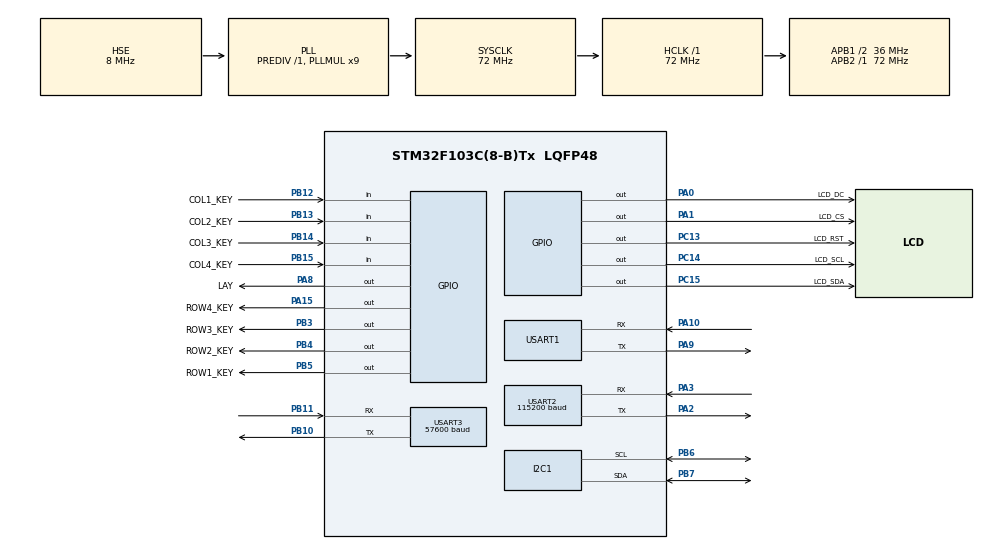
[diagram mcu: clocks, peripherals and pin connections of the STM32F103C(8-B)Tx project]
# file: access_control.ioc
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Mcu.Family=STM32F1
Mcu.Name=STM32F103C(8-B)Tx
Mcu.Package=LQFP48
NVIC.PriorityGroup=NVIC_PRIORITYGROUP_4
NVIC.USART3_IRQn=true\:0\:0\:false\:false\:true\:true\:true\:true
PA0-WKUP.GPIO_Label=LCD_DC
PA0-WKUP.GPIO_ModeDefaultOutputPP=GPIO_MODE_OUTPUT_PP
PA0-WKUP.GPIO_PuPd=GPIO_PULLUP
PA0-WKUP.GPIO_Speed=GPIO_SPEED_FREQ_HIGH
PA0-WKUP.PinState=GPIO_PIN_SET
PA0-WKUP.Signal=GPIO_Output
PA1.GPIO_Label=LCD_CS
PA1.GPIO_ModeDefaultOutputPP=GPIO_MODE_OUTPUT_PP
PA1.GPIO_PuPd=GPIO_PULLUP
PA1.GPIO_Speed=GPIO_SPEED_FREQ_HIGH
PA1.PinState=GPIO_PIN_SET
PA1.Signal=GPIO_Output
PA10.Mode=Asynchronous
PA10.Signal=USART1_RX
PA13.Mode=Serial_Wire
PA13.Signal=SYS_JTMS-SWDIO
PA14.Mode=Serial_Wire
PA14.Signal=SYS_JTCK-SWCLK
PA15.GPIO_Label=ROW4_KEY
PA15.GPIO_PuPd=GPIO_PULLUP
PA15.GPIO_Speed=GPIO_SPEED_FREQ_HIGH
PA15.PinState=GPIO_PIN_SET
PA15.Signal=GPIO_Output
PA2.Mode=Asynchronous
PA2.Signal=USART2_TX
PA3.Mode=Asynchronous
PA3.Signal=USART2_RX
PA8.GPIO_Label=LAY
PA8.GPIO_ModeDefaultOutputPP=GPIO_MODE_OUTPUT_PP
PA8.GPIO_PuPd=GPIO_PULLDOWN
PA8.GPIO_Speed=GPIO_SPEED_FREQ_HIGH
PA8.PinState=GPIO_PIN_SET
PA8.Signal=GPIO_Output
PA9.Mode=Asynchronous
PA9.Signal=USART1_TX
PB10.Mode=Asynchronous
PB10.Signal=USART3_TX
PB11.Mode=Asynchronous
PB11.Signal=USART3_RX
PB12.GPIO_Label=COL1_KEY
PB12.GPIO_PuPd=GPIO_PULLUP
PB12.Signal=GPIO_Input
PB13.GPIO_Label=COL2_KEY
PB13.GPIO_PuPd=GPIO_PULLUP
PB13.Signal=GPIO_Input
PB14.GPIO_Label=COL3_KEY
PB14.GPIO_PuPd=GPIO_PULLUP
PB14.Signal=GPIO_Input
PB15.GPIO_Label=COL4_KEY
PB15.GPIO_PuPd=GPIO_PULLUP
PB15.Signal=GPIO_Input
PB3.GPIO_Label=ROW3_KEY
PB3.GPIO_PuPd=GPIO_PULLUP
PB3.GPIO_Speed=GPIO_SPEED_FREQ_HIGH
PB3.PinState=GPIO_PIN_SET
PB3.Signal=GPIO_Output
PB4.GPIO_Label=ROW2_KEY
PB4.GPIO_ModeDefaultOutputPP=GPIO_MODE_OUTPUT_PP
PB4.GPIO_PuPd=GPIO_PULLUP
PB4.GPIO_Speed=GPIO_SPEED_FREQ_HIGH
PB4.PinState=GPIO_PIN_SET
PB4.Signal=GPIO_Output
PB5.GPIO_Label=ROW1_KEY
PB5.GPIO_PuPd=GPIO_PULLUP
PB5.GPIO_Speed=GPIO_SPEED_FREQ_HIGH
PB5.PinState=GPIO_PIN_SET
PB5.Signal=GPIO_Output
PB6.Mode=I2C
PB6.Signal=I2C1_SCL
PB7.Mode=I2C
PB7.Signal=I2C1_SDA
PC13-TAMPER-RTC.GPIO_Label=LCD_RST
PC13-TAMPER-RTC.GPIO_ModeDefaultOutputPP=GPIO_MODE_OUTPUT_PP
PC13-TAMPER-RTC.GPIO_PuPd=GPIO_PULLUP
PC13-TAMPER-RTC.GPIO_Speed=GPIO_SPEED_FREQ_HIGH
PC13-TAMPER-RTC.PinState=GPIO_PIN_SET
PC13-TAMPER-RTC.Signal=GPIO_Output
PC14-OSC32_IN.GPIO_Label=LCD_SCL
PC14-OSC32_IN.GPIO_ModeDefaultOutputPP=GPIO_MODE_OUTPUT_PP
PC14-OSC32_IN.GPIO_PuPd=GPIO_PULLUP
PC14-OSC32_IN.GPIO_Speed=GPIO_SPEED_FREQ_HIGH
PC14-OSC32_IN.PinState=GPIO_PIN_SET
PC14-OSC32_IN.Signal=GPIO_Output
PC15-OSC32_OUT.GPIO_Label=LCD_SDA
PC15-OSC32_OUT.GPIO_ModeDefaultOutputPP=GPIO_MODE_OUTPUT_PP
PC15-OSC32_OUT.GPIO_PuPd=GPIO_PULLUP
PC15-OSC32_OUT.GPIO_Speed=GPIO_SPEED_FREQ_HIGH
PC15-OSC32_OUT.PinState=GPIO_PIN_SET
PC15-OSC32_OUT.Signal=GPIO_Output
PD0-OSC_IN.Mode=HSE-External-Oscillator
PD0-OSC_IN.Signal=RCC_OSC_IN
PD1-OSC_OUT.Mode=HSE-External-Oscillator
PD1-OSC_OUT.Signal=RCC_OSC_OUT
ProjectManager.HeapSize=0x200
ProjectManager.StackSize=0x400
ProjectManager.TargetToolchain=MDK-ARM V5.32
RCC.AHBFreq_Value=72000000
RCC.APB1CLKDivider=RCC_HCLK_DIV2
RCC.APB1Freq_Value=36000000
RCC.APB1TimFreq_Value=72000000
RCC.APB2Freq_Value=72000000
RCC.APB2TimFreq_Value=72000000
RCC.HCLKFreq_Value=72000000
RCC.PLLMUL=RCC_PLL_MUL9
RCC.PLLSourceVirtual=RCC_PLLSOURCE_HSE
RCC.SYSCLKFreq_VALUE=72000000
RCC.SYSCLKSource=RCC_SYSCLKSOURCE_PLLCLK
RCC.USBFreq_Value=72000000
USART1.VirtualMode=VM_ASYNC
USART2.BaudRate=115200
USART2.VirtualMode=VM_ASYNC
USART3.BaudRate=57600
USART3.VirtualMode=VM_ASYNC
board=custom

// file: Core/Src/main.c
/* USER CODE BEGIN Header */
/**
  ******************************************************************************
  * @file           : main.c
  * @brief          : Main program body
  ******************************************************************************
  * @attention
  *
  * Copyright (c) 2025 STMicroelectronics.
  * All rights reserved.
  *
  * This software is licensed under terms that can be found in the LICENSE file
  * in the root directory of this software component.
  * If no LICENSE file comes with this software, it is provided AS-IS.
  *
  ******************************************************************************
  */
/* USER CODE END Header */
#include "main.h"
#include "i2c.h"
#include "usart.h"
#include "gpio.h"

/* USER CODE BEGIN Includes */
#include "AT24C02.h"
#include "stdio.h"
#include "oled.h"
#include "as608.h"
#include "matrx_key.h"
#include "ui_home.h"
#include "ui_pin.h"
#include "bobao.h"
/* USER CODE END Includes */

void SystemClock_Config(void);

int main(void)
{
  /* USER CODE BEGIN 1 */
	 uint8_t data[6];
  /* USER CODE END 1 */

  /* MCU Configuration--------------------------------------------------------*/

  /* Reset of all peripherals, Initializes the Flash interface and the Systick. */
  HAL_Init();

  /* Configure the system clock */
  SystemClock_Config();

  /* Initialize all configured peripherals */
  MX_GPIO_Init();
  MX_I2C1_Init();
  MX_USART1_UART_Init();
  MX_USART2_UART_Init();
  MX_USART3_UART_Init();
  /* USER CODE BEGIN 2 */
	OLED_Init();

	if (HAL_UART_Receive_IT(&huart3, (uint8_t *)aRxBuffer, RXBUFFERSIZE) != HAL_OK)//接收中断打开,空闲中断打开
  {

  }
	  __HAL_UART_ENABLE_IT(&huart3, UART_IT_IDLE); //使能空闲中断

//	  HAL_GPIO_WritePin(GPIOA,LAY_Pin, GPIO_PIN_SET);  //上电继电器是关闭的
//		HAL_Delay(100);

		  HAL_GPIO_WritePin(GPIOA,LAY_Pin, GPIO_PIN_RESET);  //上电继电器是关闭的
		HAL_Delay(100);

		OLED_ShowString( 30,0,(uint8_t*)"Welcome",16,1);
		OLED_Refresh();

	if(!at24_init())
	{
			OLED_ShowString( 0,20,(uint8_t*)"AT24 dismissed",16,1);
			OLED_Refresh();
		  while(1);
	}

	while(GZ_HandShake(&AS608Addr))//与AS608模块握手
	{

		  OLED_ShowString( 20,20,(uint8_t*)"Waiting ...",16,1);
			OLED_Refresh();
		  printf("waiting..\r\n");
			HAL_Delay(1000);//等待1秒

	}

	HAL_Delay(1000);//等待1秒
  OLED_Clear();
  printf("go\r\n");
	GZ_Empty();
  /* USER CODE END 2 */

  /* Infinite loop */
  while (1)
  {

    /* USER CODE BEGIN 3 */

		ui_home();
//		scanMatrix();
//		if(key_state[0][0]==1)
//		{
//			  key_state[0][0]=0;
//					printf("hello\r\n");
//		}
//		HAL_Delay(10);
  }
  /* USER CODE END 3 */
}

void SystemClock_Config(void)
{
  RCC_OscInitTypeDef RCC_OscInitStruct = {0};
  RCC_ClkInitTypeDef RCC_ClkInitStruct = {0};

  /** Initializes the RCC Oscillators according to the specified parameters
  * in the RCC_OscInitTypeDef structure.
  */
  RCC_OscInitStruct.OscillatorType = RCC_OSCILLATORTYPE_HSE;
  RCC_OscInitStruct.HSEState = RCC_HSE_ON;
  RCC_OscInitStruct.HSEPredivValue = RCC_HSE_PREDIV_DIV1;
  RCC_OscInitStruct.HSIState = RCC_HSI_ON;
  RCC_OscInitStruct.PLL.PLLState = RCC_PLL_ON;
  RCC_OscInitStruct.PLL.PLLSource = RCC_PLLSOURCE_HSE;
  RCC_OscInitStruct.PLL.PLLMUL = RCC_PLL_MUL9;
  if (HAL_RCC_OscConfig(&RCC_OscInitStruct) != HAL_OK)
  {
    Error_Handler();
  }

  /** Initializes the CPU, AHB and APB buses clocks
  */
  RCC_ClkInitStruct.ClockType = RCC_CLOCKTYPE_HCLK|RCC_CLOCKTYPE_SYSCLK
                              |RCC_CLOCKTYPE_PCLK1|RCC_CLOCKTYPE_PCLK2;
  RCC_ClkInitStruct.SYSCLKSource = RCC_SYSCLKSOURCE_PLLCLK;
  RCC_ClkInitStruct.AHBCLKDivider = RCC_SYSCLK_DIV1;
  RCC_ClkInitStruct.APB1CLKDivider = RCC_HCLK_DIV2;
  RCC_ClkInitStruct.APB2CLKDivider = RCC_HCLK_DIV1;

  if (HAL_RCC_ClockConfig(&RCC_ClkInitStruct, FLASH_LATENCY_2) != HAL_OK)
  {
    Error_Handler();
  }
}

void Error_Handler(void)
{
  __disable_irq();
  while (1)
  {
  }
}
